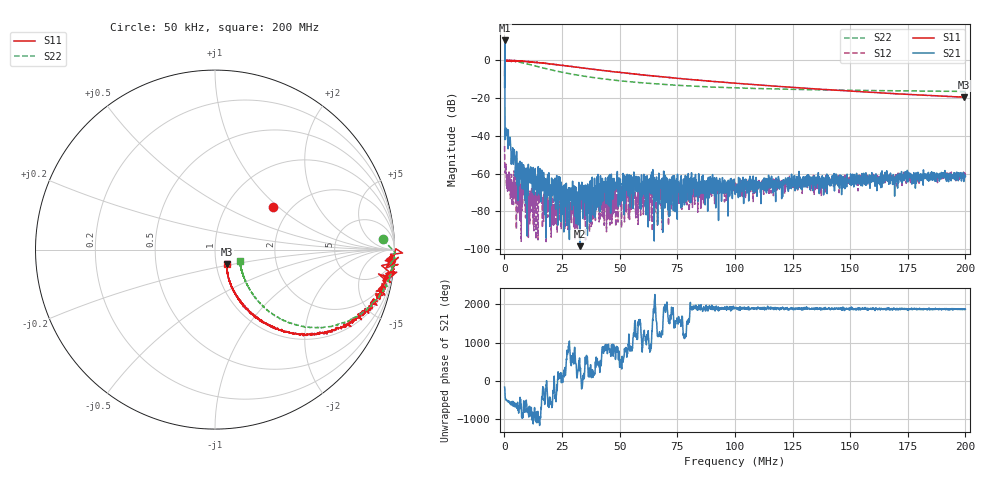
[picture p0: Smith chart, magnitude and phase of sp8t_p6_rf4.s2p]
! 26-Feb-26 12:28:23 PM
! E:\VNA_MEASUREMENTS\SP8T\SP8T_P6_RF4.S2P
! CHANNEL.1
! TR.MEASUREMENT
! CORRECTED.DATA
# GHZ S RI R 50.0
! FREQ.GHZ  S11RE  S11IM  S21RE  S21IM  S12RE  S12IM  S22RE  S22IM
!; PortSelection: Port_12
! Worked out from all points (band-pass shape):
!   2000 points, 50 kHz to 200 MHz, reference 50 ohm
!   highest |S21| = 10.62 dB at 150 kHz (marker M1); lowest = -98.5 dB at 32.66 MHz (marker M2)
!   |S21| within 3 dB of the highest: 137.9 kHz to 155.7 kHz (17.79 kHz wide, 12.1 % of centre)
!   lowest |S11| = -19.5 dB at 199.4 MHz (marker M3), VSWR 1.24, Z = 56.2 - j9.41 ohm
!   |S11| at or under -10 dB: 79.54115 MHz to 79.59861 MHz (57.46 kHz wide, 0.0722 % of centre); 79.73949 MHz to 79.8747 MHz (135.2 kHz wide, 0.169 % of centre); 80.05 MHz to end of sweep
!   |S22| runs from -16.4 to 0.0 dB; largest |S21 - S12| = 3.4
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5e-05  0.3221 0.2377  -0.1837 -0.0652  0.00436 -0.00314  0.9342 0.0578
0.000150025  1.169 -0.5944  -3.227 1.06  -0.00124 -0.000577  0.998 -0.0111
0.0012503  0.9805 -0.0261  -0.00981 -0.00613  -0.000508 9.48e-05  1 -0.0865
0.006351576  0.9295 -0.2196  0.000825 0.00136  3.78e-05 -0.000159  0.8403 -0.3369
0.020055  0.6743 -0.4478  -0.000328 0.000342  -0.000116 9.57e-05  0.4018 -0.4036
0.0260565  0.5572 -0.4687  -0.000128 -0.00037  5.46e-05 4.24e-05  0.3147 -0.3547
0.03265815  0.45 -0.4692  8e-07 1.19e-05  -8.42e-05 -1.95e-05  0.2572 -0.3062
0.03345835  0.4358 -0.4637  -0.000262 0.000149  -0.000202 0.000148  0.2528 -0.3009
0.04836208  0.2808 -0.4096  0.000292 0.000497  -4.35e-05 1.42e-05  0.1957 -0.2245
0.05036258  0.2625 -0.4045  0.000136 0.00048  -0.000262 0.00013  0.1898 -0.217
0.05716428  0.2208 -0.3742  -0.000281 0.000184  5.7e-05 8.05e-05  0.1779 -0.1945
0.05966491  0.21 -0.3629  -0.000513 -6.89e-05  1.97e-05 0.000166  0.1745 -0.1877
0.06676668  0.1795 -0.3311  5.53e-05 0.000474  -0.000292 0.000291  0.1666 -0.1688
0.06976743  0.1683 -0.3221  -0.000896 7.68e-05  -0.000273 0.000328  0.1641 -0.1617
0.07116778  0.1621 -0.3156  -0.00019 0.000553  2.93e-05 3.1e-05  0.1637 -0.1592
0.08217054  0.1325 -0.2783  -0.000719 0.00028  -0.000174 0.00019  0.1557 -0.139
0.08727181  0.1248 -0.262  0.000243 0.000126  -0.00013 0.000426  0.1528 -0.1318
0.100075  0.1031 -0.2286  -7.72e-05 0.00039  -0.000166 0.000541  0.1484 -0.1158
0.1333833  0.0764 -0.1617  -0.000222 0.000607  0.000256 0.000682  0.1427 -0.0896
0.1666917  0.0672 -0.1166  9.7e-05 0.000778  0.000167 0.000836  0.14 -0.0731
0.1993998  0.066 -0.0828  0.000104 0.000891  9.33e-05 0.000715  0.138 -0.0629
0.2  0.0662 -0.0827  0.000219 0.000807  0.000111 0.00083  0.1381 -0.0618
